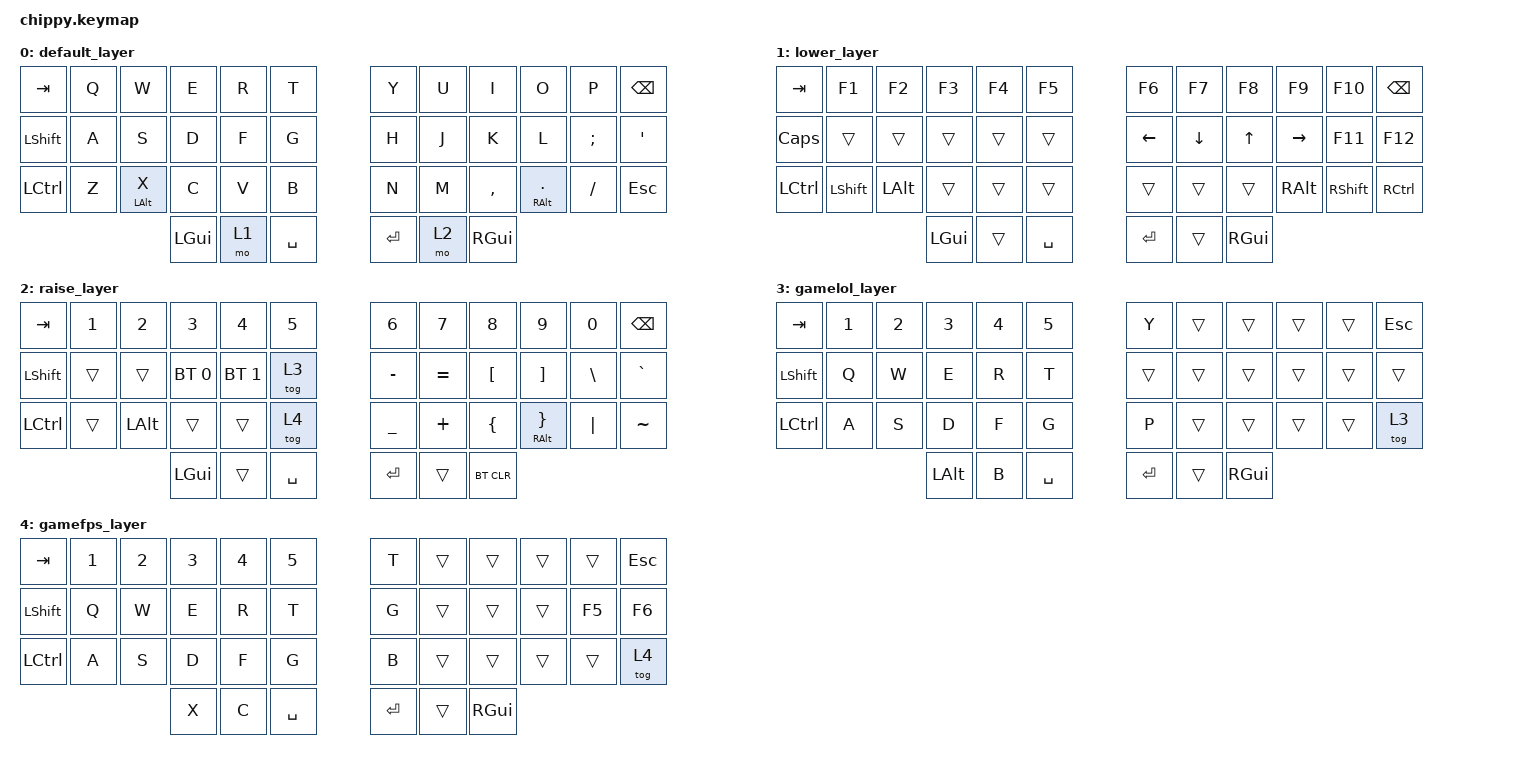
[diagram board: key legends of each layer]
/*
 * Copyright (c) 2020 The ZMK Contributors
 *
 * SPDX-License-Identifier: MIT
 */

#include <behaviors.dtsi>
#include <dt-bindings/zmk/keys.h>
#include <dt-bindings/zmk/bt.h>

/ {
        keymap {
                compatible = "zmk,keymap";

                default_layer {
                        bindings = <
   &kp TAB           &kp Q         &kp W         &kp E         &kp R         &kp T           &kp Y         &kp U          &kp I             &kp O           &kp P            &kp BSPC
   &kp LSHFT         &kp A         &kp S         &kp D         &kp F         &kp G           &kp H         &kp J          &kp K             &kp L           &kp SEMI         &kp SQT
   &kp LCTRL         &kp Z         &mt LALT X    &kp C         &kp V         &kp B           &kp N         &kp M          &kp COMMA         &mt RALT DOT    &kp FSLH         &kp ESC
                                                 &kp LGUI      &mo 1         &kp SPACE       &kp RET       &mo 2          &kp RGUI
                        >;
                };

                lower_layer {
                        bindings = <
   &kp TAB           &kp F1        &kp F2        &kp F3        &kp F4        &kp F5          &kp F6        &kp F7         &kp F8           &kp F9           &kp F10           &kp BSPC
   &kp CAPS           &trans         &trans        &trans        &trans        &trans          &kp LEFT      &kp DOWN       &kp UP           &kp RIGHT        &kp F11           &kp F12
   &kp LCTRL         &kp LSHFT     &kp LALT      &trans        &trans        &trans          &trans        &trans         &trans           &kp RALT         &kp RSHFT         &kp RCTRL
                                                 &kp LGUI      &trans        &kp SPACE       &kp RET       &trans         &kp RGUI
                        >;
                };

                raise_layer {
                        bindings = <
   &kp TAB           &kp N1        &kp N2       &kp N3         &kp N4        &kp N5          &kp N6        &kp N7        &kp N8             &kp N9         &kp N0            &kp BSPC
   &kp LSHFT         &trans        &trans       &bt BT_SEL 0   &bt BT_SEL 1        &tog 3          &kp MINUS     &kp EQUAL     &kp LBKT           &kp RBKT       &kp BSLH          &kp GRAVE
   &kp LCTRL         &trans       &kp LALT       &trans        &trans        &tog 4          &kp UNDER     &kp PLUS      &kp LBRC           &mt RALT RBRC  &kp PIPE          &kp TILDE
                                                &kp LGUI       &trans        &kp SPACE       &kp RET       &trans        &bt BT_CLR
                        >;
                };

                gamelol_layer {
                        bindings = <

   &kp TAB           &kp N1        &kp N2       &kp N3         &kp N4        &kp N5          &kp Y        &trans        &trans             &trans         &trans           &kp ESC
   &kp LSHFT         &kp Q         &kp W        &kp E          &kp R         &kp T           &trans       &trans        &trans             &trans         &trans           &trans
   &kp LCTRL         &kp A         &kp S        &kp D          &kp F         &kp G           &kp P        &trans        &trans             &trans         &trans           &tog 3
                                                &kp LALT       &kp B         &kp SPACE       &kp RET      &trans        &kp RGUI
                        >;
                };

                gamefps_layer {
                        bindings = <
   &kp TAB           &kp N1        &kp N2       &kp N3         &kp N4        &kp N5          &kp T        &trans        &trans             &trans         &trans           &kp ESC
   &kp LSHFT         &kp Q         &kp W        &kp E          &kp R         &kp T           &kp G        &trans        &trans             &trans         &kp F5           &kp F6
   &kp LCTRL         &kp A         &kp S        &kp D          &kp F         &kp G           &kp B        &trans        &trans             &trans         &trans           &tog 4
                                                &kp X          &kp C         &kp SPACE       &kp RET      &trans        &kp RGUI
                        >;
                };
        };
};
